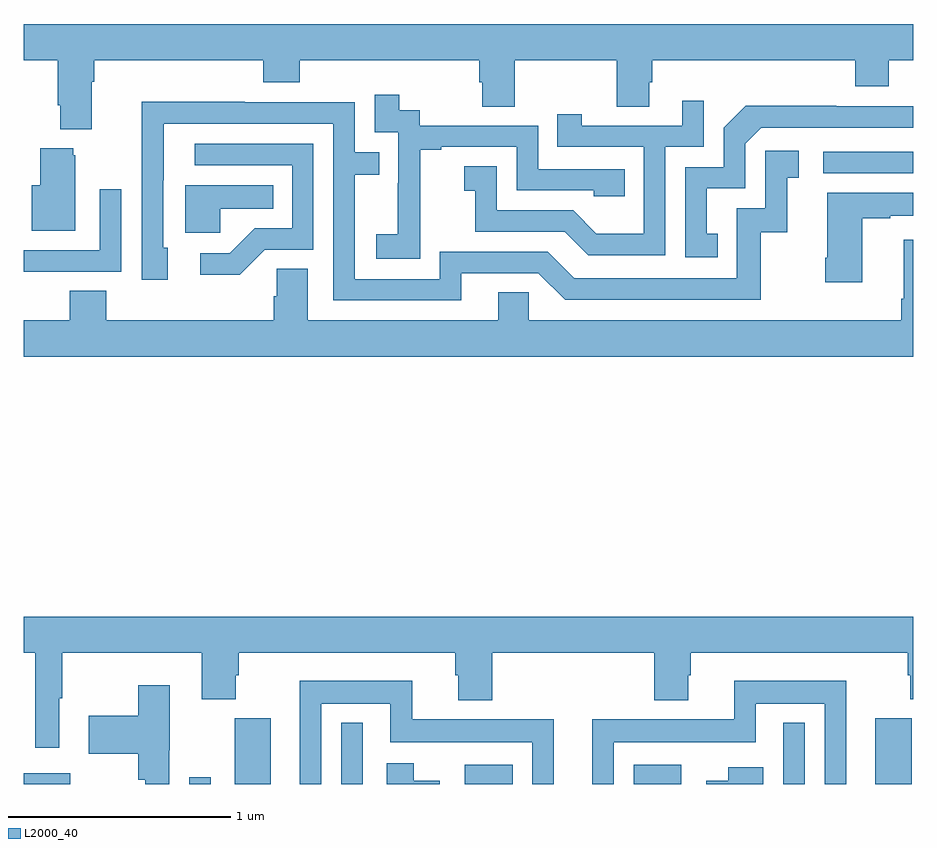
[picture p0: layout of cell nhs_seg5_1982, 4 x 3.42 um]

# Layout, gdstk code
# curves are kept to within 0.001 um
import gdstk
lib = gdstk.Library(unit=1e-6, precision=1e-09)
def R(c, l, rs):  # rectangles x0, y0, x1, y1
    for r in rs: c.add(gdstk.rectangle(r[:2], r[2:], *l))
def P(c, l, *ps):  # polygons
    for p in ps: c.add(gdstk.Polygon(p, *l))
L2000_40 = (2000, 40)

nhs_seg5_1982 = lib.new_cell('nhs_seg5_1982')
R(nhs_seg5_1982, L2000_40, [(227,894.799,227.209,894.847), (227.745,894.799,227.841,894.829), (227.948,894.799,228.112,895.095), (228.429,894.799,228.525,895.075), (228.983,894.799,229.198,894.886), (229.742,894.799,229.957,894.886), (230.415,894.799,230.511,895.075), (230.828,894.799,230.992,895.095), (230.595,897.546,231,897.642)])
P(nhs_seg5_1982, L2000_40, [(227.305,897.956),(227.318,897.956),(227.318,898.052),(228.077,898.052),(228.077,897.953),(228.242,897.953),(228.242,898.052),(229.049,898.052),(229.049,897.954),(229.061,897.954),(229.061,897.844),(229.209,897.844),(229.209,898.052),(229.666,898.052),(229.666,897.844),(229.813,897.844),(229.813,897.954),(229.826,897.954),(229.826,898.052),(230.738,898.052),(230.738,897.935),(230.89,897.935),(230.89,898.052),(231,898.052),(231,898.216),(227,898.216),(227,898.052),(227.153,898.052),(227.153,897.85),(227.165,897.85),(227.165,897.743),(227.305,897.743)],
  [(228.783,897.367),(228.782,897.367),(228.782,897.651),(228.877,897.651),(228.877,897.663),(229.218,897.663),(229.218,897.468),(229.563,897.468),(229.563,897.441),(229.703,897.441),(229.703,897.564),(229.314,897.564),(229.314,897.759),(228.78,897.759),(228.78,897.828),(228.688,897.828),(228.688,897.898),(228.579,897.898),(228.579,897.729),(228.684,897.729),(228.684,897.5),(228.683,897.5),(228.683,897.271),(228.585,897.271),(228.585,897.161),(228.783,897.161)],
  [(229.884,897.663),(230.058,897.663),(230.058,897.871),(229.961,897.871),(229.961,897.759),(229.51,897.759),(229.51,897.811),(229.399,897.811),(229.399,897.663),(229.788,897.663),(229.788,897.274),(229.574,897.274),(229.47,897.378),(229.128,897.378),(229.128,897.577),(228.981,897.577),(228.981,897.467),(229.03,897.467),(229.03,897.282),(229.433,897.282),(229.538,897.177),(229.884,897.177)],
  [(228.967,897.096),(229.314,897.096),(229.434,896.976),(230.314,896.976),(230.314,897.279),(230.432,897.279),(230.432,897.525),(230.485,897.525),(230.485,897.646),(230.334,897.646),(230.334,897.387),(230.205,897.387),(230.205,897.072),(229.476,897.072),(229.356,897.192),(228.87,897.192),(228.87,897.069),(228.489,897.069),(228.489,897.538),(228.599,897.538),(228.599,897.639),(228.489,897.639),(228.489,897.864),(227.993,897.864),(227.993,897.866),(227.53,897.866),(227.53,897.559),(227.532,897.559),(227.532,897.066),(227.647,897.066),(227.647,897.21),(227.628,897.21),(227.629,897.768),(228.393,897.768),(228.393,896.973),(228.967,896.973)],
  [(230.12,897.273),(230.071,897.273),(230.071,897.477),(230.244,897.477),(230.244,897.678),(230.316,897.75),(231,897.75),(231,897.846),(230.654,897.846),(230.654,897.848),(230.246,897.848),(230.148,897.75),(230.148,897.573),(229.974,897.573),(229.974,897.168),(230.12,897.168)],
  [(228.084,897.201),(228.303,897.201),(228.303,897.678),(227.769,897.678),(227.769,897.582),(228.207,897.582),(228.207,897.297),(228.038,897.297),(227.927,897.186),(227.793,897.186),(227.793,897.089),(227.971,897.089)],
  [(227.233,897.627),(227.222,897.627),(227.222,897.658),(227.075,897.658),(227.075,897.49),(227.036,897.49),(227.036,897.287),(227.233,897.287)],
  [(227.883,897.386),(228.122,897.386),(228.122,897.49),(227.726,897.49),(227.726,897.278),(227.883,897.278)],
  [(227.123,897.102),(227.439,897.102),(227.439,897.472),(227.343,897.472),(227.343,897.198),(227,897.198),(227,897.101),(227.123,897.101)],
  [(230.77,897.343),(230.897,897.343),(230.897,897.353),(231,897.353),(231,897.457),(230.612,897.457),(230.612,897.166),(230.605,897.166),(230.605,897.054),(230.77,897.054)],
  [(231,897.247),(230.957,897.247),(230.957,896.98),(230.945,896.98),(230.945,896.884),(229.272,896.884),(229.272,897.011),(229.133,897.011),(229.133,896.884),(228.277,896.884),(228.277,897.116),(228.138,897.116),(228.138,896.993),(228.125,896.993),(228.125,896.884),(227.372,896.884),(227.372,897.017),(227.207,897.017),(227.207,896.884),(227,896.884),(227,896.72),(231,896.72)],
  [(227.161,895.184),(227.174,895.184),(227.174,895.388),(227.801,895.388),(227.801,895.18),(227.953,895.18),(227.953,895.289),(227.966,895.289),(227.966,895.388),(228.941,895.388),(228.941,895.287),(228.953,895.287),(228.953,895.175),(229.106,895.175),(229.106,895.388),(229.835,895.388),(229.835,895.175),(229.987,895.175),(229.987,895.287),(230,895.287),(230,895.388),(230.975,895.388),(230.975,895.289),(230.987,895.289),(230.987,895.18),(231,895.18),(231,895.552),(227,895.552),(227,895.388),(227.051,895.388),(227.051,894.963),(227.161,894.963)],
  [(228.339,895.16),(228.648,895.16),(228.648,894.986),(229.287,894.986),(229.287,894.799),(229.384,894.799),(229.384,895.09),(228.746,895.09),(228.746,895.264),(228.242,895.264),(228.242,894.799),(228.339,894.799)],
  [(229.653,894.986),(230.292,894.986),(230.292,895.16),(230.601,895.16),(230.601,894.799),(230.698,894.799),(230.698,895.264),(230.195,895.264),(230.195,895.09),(229.556,895.09),(229.556,894.799),(229.653,894.799)],
  [(227.655,894.951),(227.656,894.951),(227.656,895.243),(227.515,895.243),(227.515,895.105),(227.292,895.105),(227.292,894.935),(227.515,894.935),(227.515,894.818),(227.547,894.818),(227.547,894.799),(227.655,894.799)],
  [(228.871,894.814),(228.754,894.814),(228.754,894.892),(228.632,894.892),(228.632,894.799),(228.871,894.799)],
  [(230.326,894.874),(230.168,894.874),(230.168,894.814),(230.069,894.814),(230.069,894.799),(230.326,894.799)])

lib.write_gds('nhs_seg5_1982.gds')
